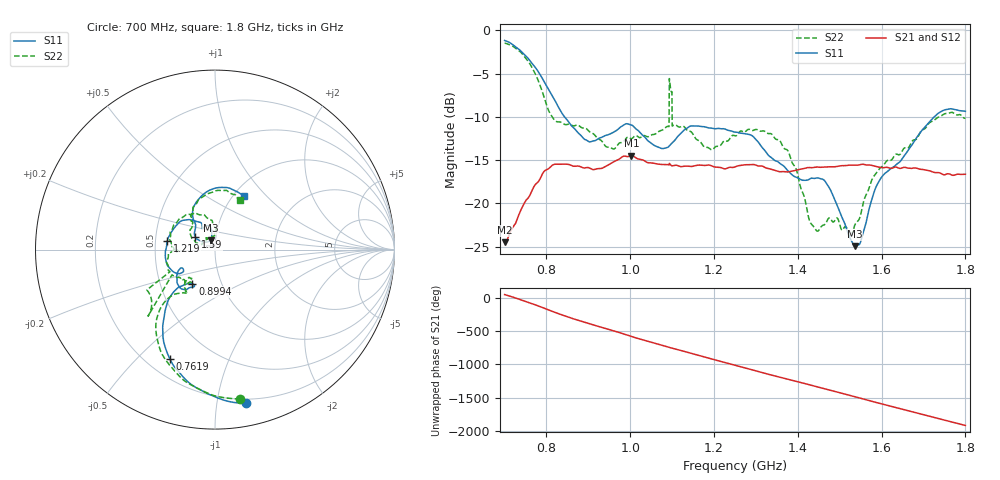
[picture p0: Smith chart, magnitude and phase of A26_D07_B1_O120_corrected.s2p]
! Created with skrf 1.9.0 (http://scikit-rf.org).
# Hz S RI R 50.0
!freq ReS11 ImS11 ReS21 ImS21 ReS12 ImS12 ReS22 ImS22
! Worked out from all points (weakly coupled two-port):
!   1601 points, 700 MHz to 1.8 GHz, reference 50 ohm
!   highest |S21| = -14.49 dB at 1.002 GHz (marker M1); lowest = -24.5 dB at 700 MHz (marker M2)
!   lowest |S11| = -24.9 dB at 1.536 GHz (marker M3), VSWR 1.12, Z = 47.3 + j4.83 ohm
!   |S11| at or under -10 dB: 843.1 MHz to 1.726 GHz (882.4 MHz wide, 68.7 % of centre)
!   |S22| runs from -23.9 to -1.5 dB; largest |S21 - S12| = 0.0035
!   S11 on the Smith chart (normalised r, x): 700 MHz: 0.17, -1.21; 761.9 MHz: 0.29, -0.63; 899.4 MHz: 0.73, -0.29; 1.219 GHz: 0.58, +0.06; 1.59 GHz: 0.80, +0.11; 1.8 GHz: 1.12, +0.76
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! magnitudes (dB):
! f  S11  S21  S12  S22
! 700 MHz  -1.2  -24.5  -24.3  -1.5
! 761.9 MHz  -3.6  -18.9  -18.8  -4.0
! 817.6 MHz  -7.9  -15.5  -15.6  -10.3
! 883.6 MHz  -12.2  -15.8  -15.7  -11.2
! 899.4 MHz  -12.8  -15.9  -15.9  -11.6
! 957.8 MHz  -11.8  -15.3  -15.3  -13.7
! 1.002 GHz  -10.9  -14.5  -14.6  -12.5
! 1.067 GHz  -13.5  -15.5  -15.4  -11.7
! 1.087 GHz  -13.6  -15.5  -15.5  -11.1
! 1.099 GHz  -13.1  -15.6  -15.6  -7.1
! 1.106 GHz  -12.7  -15.6  -15.6  -10.9
! 1.219 GHz  -11.4  -15.9  -15.9  -13.1
! 1.25 GHz  -11.8  -15.8  -15.7  -12.2
! 1.357 GHz  -15.4  -16.3  -16.3  -12.7
! 1.395 GHz  -17.0  -16.2  -16.2  -15.9
! 1.434 GHz  -17.1  -15.9  -15.8  -22.5
! 1.471 GHz  -17.9  -15.8  -15.8  -21.9
! 1.536 GHz  -24.9  -15.6  -15.6  -22.5
! 1.59 GHz  -17.8  -15.8  -15.8  -16.3
! 1.617 GHz  -16.2  -15.9  -15.8  -15.0
! 1.734 GHz  -9.6  -16.4  -16.5  -10.1
! 1.8 GHz  -9.4  -16.6  -16.6  -10.2
